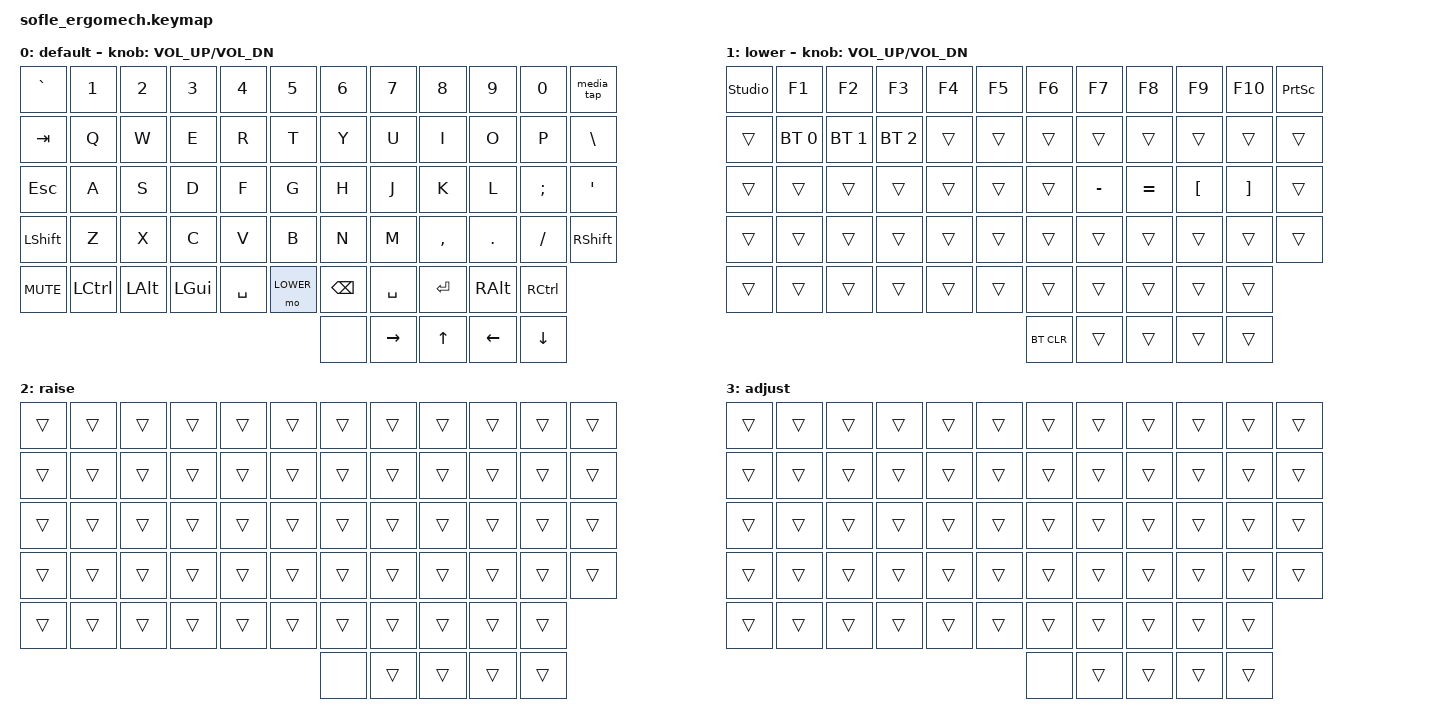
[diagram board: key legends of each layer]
/*
 * Copyright (c) 2020 The ZMK Contributors
 *
 * SPDX-License-Identifier: MIT
 */
#include <behaviors.dtsi>
#include <dt-bindings/zmk/bt.h>
#include <dt-bindings/zmk/ext_power.h>
#include <dt-bindings/zmk/keys.h>
#include <dt-bindings/zmk/rgb.h>

#define BASE 0
#define LOWER 1
#define RAISE 2
#define ADJUST 3

/ {
    // Activate ADJUST layer by pressing raise and lower

    conditional_layers {
        compatible = "zmk,conditional-layers";

        adjust_layer {
            if-layers = <LOWER RAISE>;
            then-layer = <ADJUST>;
        };
    };	

    behaviors {
        media_tap: media_tap_dance {
            compatible = "zmk,behavior-tap-dance";
            #binding-cells = <0>;
            tapping-term-ms = <200>;
            bindings = <&kp C_PP>, <&kp C_NEXT>, <&kp C_PREV>;
        };
    };
	
    keymap {
        compatible = "zmk,keymap";

        default_layer {
            label = "default";

            // ------------------------------------------------------------------------------------------------------------
            // |   `   |  1  |  2  |  3   |  4   |  5   |                   |  6   |  7    |  8    |  9   |   0   | PLAY/PAUSE |
            // |  TAB  |  Q  |  W  |  E   |  R   |  T   |                   |  Y   |  U    |  I    |  O   |   P   |   \   |
            // |  ESC  |  A  |  S  |  D   |  F   |  G   |                   |  H   |  J    |  K    |  L   |   ;   |   '   |
            // | SHIFT |  Z  |  X  |  C   |  V   |  B   |  MUTE  |  |       |  N   |  M    |  ,    |  .   |   /   | SHIFT |
            //             | CTRL  | ALT  | GUI  | SPACE| LOWER |  | BKSPC | SPACE | RETURN | ALTGR | CTRL |

            bindings = <
&kp GRAVE   &kp N1     &kp N2    &kp N3     &kp N4     &kp N5   &kp N6     &kp N7     &kp N8       &kp N9    &kp N0    &media_tap
&kp TAB     &kp Q      &kp W     &kp E      &kp R      &kp T    &kp Y      &kp U      &kp I        &kp O     &kp P     &kp BSLH
&kp ESC     &kp A      &kp S     &kp D      &kp F      &kp G    &kp H      &kp J      &kp K        &kp L     &kp SEMI  &kp SQT
&kp LSHFT   &kp Z      &kp X     &kp C      &kp V      &kp B    &kp N      &kp M      &kp COMMA    &kp DOT   &kp FSLH  &kp RSHFT
&kp C_MUTE  &kp LCTRL  &kp LALT  &kp LGUI   &kp SPACE  &mo LOWER  &kp BSPC  &kp SPACE  &kp RET     &kp RALT  &kp RCTRL
                                                               &none  &kp RIGHT  &kp UP  &kp LEFT  &kp DOWN
            >;

            sensor-bindings = <&inc_dec_kp C_VOL_UP C_VOL_DN>;
        };

        lower_layer {
            label = "lower";

            // ------------------------------------------------------------------------------------------------------------
            // |STUDIO |  F1 |  F2 |  F3  |  F4  |  F5  |                   |  F6  |  F7   |  F8   |  F9  |  F10  | PSCRN |
            // |       | BT1 | BT2 | BT3  |      |      |                   |      |       |       |      |       |       |
            // |       |     |     |      |      |      |                   |      |   -   |   =   |  [   |   ]   |       |
            // |       |     |     |      |      |      |        |  |       |      |       |       |      |       |       |
            //               |     |     |      |      |       |  |       |      |       |       |      |
            //                                      | BTCLR | RIGHT | UP | LEFT | DOWN |

            bindings = <
&studio_unlock  &kp F1  &kp F2  &kp F3  &kp F4  &kp F5  &kp F6  &kp F7  &kp F8  &kp F9  &kp F10  &kp PSCRN
&trans  &bt BT_SEL 0  &bt BT_SEL 1  &bt BT_SEL 2  &trans  &trans  &trans     &trans  &trans  &trans     &trans     &trans
&trans  &trans  &trans  &trans  &trans  &trans  &trans  &kp MINUS  &kp EQUAL  &kp LBKT  &kp RBKT  &trans
&trans  &trans  &trans  &trans  &trans  &trans  &trans      &trans         &trans         &trans     &trans     &trans
&trans  &trans  &trans  &trans  &trans  &trans  &trans  &trans  &trans  &trans  &trans
                                               &bt BT_CLR  &trans  &trans  &trans  &trans
            >;

            sensor-bindings = <&inc_dec_kp C_VOL_UP C_VOL_DN>;
        };

        raise_layer {
            label = "raise";

            bindings = <
&trans  &trans  &trans  &trans  &trans  &trans  &trans  &trans  &trans  &trans  &trans  &trans
&trans  &trans  &trans  &trans  &trans  &trans  &trans  &trans  &trans  &trans  &trans  &trans
&trans  &trans  &trans  &trans  &trans  &trans  &trans  &trans  &trans  &trans  &trans  &trans
&trans  &trans  &trans  &trans  &trans  &trans  &trans  &trans  &trans  &trans  &trans  &trans
&trans  &trans  &trans  &trans  &trans  &trans  &trans  &trans  &trans  &trans  &trans
                                                &none  &trans  &trans  &trans  &trans
            >;
        };

        adjust_layer {
            label = "adjust";
            bindings = <
&trans  &trans  &trans  &trans  &trans  &trans  &trans  &trans  &trans  &trans  &trans  &trans
&trans  &trans  &trans  &trans  &trans  &trans  &trans  &trans  &trans  &trans  &trans  &trans
&trans  &trans  &trans  &trans  &trans  &trans  &trans  &trans  &trans  &trans  &trans  &trans
&trans  &trans  &trans  &trans  &trans  &trans  &trans  &trans  &trans  &trans  &trans  &trans
&trans  &trans  &trans  &trans  &trans  &trans  &trans  &trans  &trans  &trans  &trans
                                                &none  &trans  &trans  &trans  &trans
            >;
        };
    };
};
